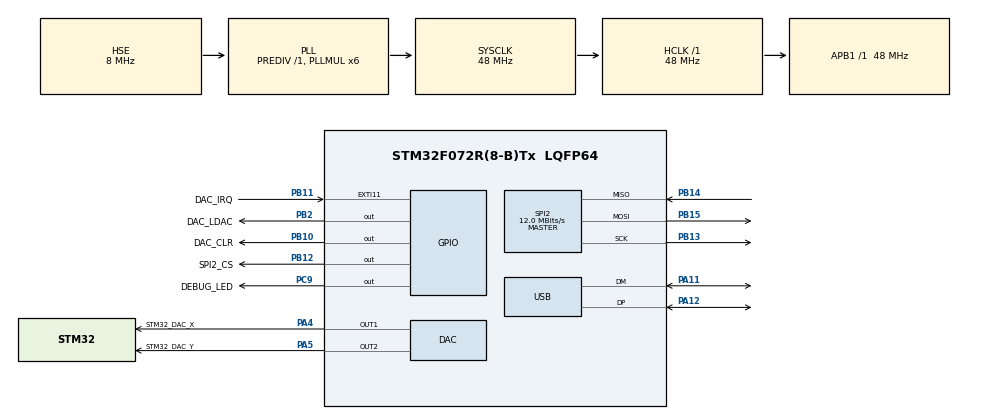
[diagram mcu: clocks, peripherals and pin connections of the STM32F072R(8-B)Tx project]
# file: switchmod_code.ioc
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IWDG.Prescaler=IWDG_PRESCALER_16
Mcu.Family=STM32F0
Mcu.Name=STM32F072R(8-B)Tx
Mcu.Package=LQFP64
NVIC.USB_IRQn=true\:0\:0\:false\:false\:true
PA11.Mode=Device
PA11.Signal=USB_DM
PA12.Mode=Device
PA12.Signal=USB_DP
PA13.Mode=Serial_Wire
PA13.Signal=SYS_SWDIO
PA14.Mode=Serial_Wire
PA14.Signal=SYS_SWCLK
PA4.GPIO_Label=STM32_DAC_X
PA4.Signal=COMP_DAC1_group
PA5.GPIO_Label=STM32_DAC_Y
PA5.Signal=COMP_DAC2_group
PB10.GPIO_Label=DAC_CLR
PB10.GPIO_ModeDefaultOutputPP=GPIO_MODE_OUTPUT_OD
PB10.PinState=GPIO_PIN_SET
PB10.Signal=GPIO_Output
PB11.GPIO_Label=DAC_IRQ
PB11.GPIO_PuPd=GPIO_NOPULL
PB11.Signal=GPXTI11
PB12.GPIO_Label=SPI2_CS
PB12.GPIO_ModeDefaultOutputPP=GPIO_MODE_OUTPUT_OD
PB12.PinState=GPIO_PIN_SET
PB12.Signal=GPIO_Output
PB13.Mode=Full_Duplex_Master
PB13.Signal=SPI2_SCK
PB14.Mode=Full_Duplex_Master
PB14.Signal=SPI2_MISO
PB15.Mode=Full_Duplex_Master
PB15.Signal=SPI2_MOSI
PB2.GPIO_Label=DAC_LDAC
PB2.GPIO_ModeDefaultOutputPP=GPIO_MODE_OUTPUT_OD
PB2.PinState=GPIO_PIN_SET
PB2.Signal=GPIO_Output
PB5.Mode=SYS_WakeUp5
PB5.Signal=SYS_WKUP6
PC9.GPIO_Label=DEBUG_LED
PC9.PinState=GPIO_PIN_SET
PC9.Signal=GPIO_Output
PF0-OSC_IN.Mode=HSE-External-Oscillator
PF0-OSC_IN.Signal=RCC_OSC_IN
PF1-OSC_OUT.Mode=HSE-External-Oscillator
PF1-OSC_OUT.Signal=RCC_OSC_OUT
ProjectManager.HeapSize=0x200
ProjectManager.StackSize=0x400
ProjectManager.TargetToolchain=MDK-ARM V5
RCC.AHBFreq_Value=48000000
RCC.APB1Freq_Value=48000000
RCC.APB1TimFreq_Value=48000000
RCC.DATA_CACHE_ENABLE=1
RCC.HCLKFreq_Value=48000000
RCC.HSIState=RCC_HSI_ON
RCC.INSTRUCTION_CACHE_ENABLE=1
RCC.PLLMUL=RCC_PLL_MUL6
RCC.SYSCLKFreq_VALUE=48000000
RCC.SYSCLKSource=RCC_SYSCLKSOURCE_PLLCLK
RCC.USBClockSelection=RCC_USBCLKSOURCE_PLL
SH.COMP_DAC1_group.0=DAC_OUT1,DAC_OUT1
SH.COMP_DAC2_group.0=DAC_OUT2,DAC_OUT2
SPI2.BaudRatePrescaler=SPI_BAUDRATEPRESCALER_4
SPI2.CLKPhase=SPI_PHASE_1EDGE
SPI2.CLKPolarity=SPI_POLARITY_LOW
SPI2.CalculateBaudRate=12.0 MBits/s
SPI2.DataSize=SPI_DATASIZE_8BIT
SPI2.Mode=SPI_MODE_MASTER
SPI2.NSSPMode=SPI_NSS_PULSE_DISABLE
USB_DEVICE.CLASS_NAME_FS=CDC
USB_DEVICE.USBD_HandleTypeDef=hUsbDeviceFS
USB_DEVICE.VirtualMode=Cdc
USB_DEVICE.VirtualModeFS=Cdc_FS
VP_IWDG_VS_IWDG.Mode=IWDG_Activate
VP_USB_DEVICE_VS_USB_DEVICE_CDC_FS.Mode=CDC_FS
board=switchmod_code

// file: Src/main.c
/**
  ******************************************************************************
  * File Name          : main.c
  * Description        : Main program body
  ******************************************************************************
  *
  * Copyright (c) 2017 STMicroelectronics International N.V.
  * All rights reserved.
  *
  * Redistribution and use in source and binary forms, with or without
  * modification, are permitted, provided that the following conditions are met:
  *
  * 1. Redistribution of source code must retain the above copyright notice,
  *    this list of conditions and the following disclaimer.
  * 2. Redistributions in binary form must reproduce the above copyright notice,
  *    this list of conditions and the following disclaimer in the documentation
  *    and/or other materials provided with the distribution.
  * 3. Neither the name of STMicroelectronics nor the names of other
  *    contributors to this software may be used to endorse or promote products
  *    derived from this software without specific written permission.
  * 4. This software, including modifications and/or derivative works of this
  *    software, must execute solely and exclusively on microcontroller or
  *    microprocessor devices manufactured by or for STMicroelectronics.
  * 5. Redistribution and use of this software other than as permitted under
  *    this license is void and will automatically terminate your rights under
  *    this license.
  *
  * THIS SOFTWARE IS PROVIDED BY STMICROELECTRONICS AND CONTRIBUTORS "AS IS"
  * AND ANY EXPRESS, IMPLIED OR STATUTORY WARRANTIES, INCLUDING, BUT NOT
  * LIMITED TO, THE IMPLIED WARRANTIES OF MERCHANTABILITY, FITNESS FOR A
  * PARTICULAR PURPOSE AND NON-INFRINGEMENT OF THIRD PARTY INTELLECTUAL PROPERTY
  * RIGHTS ARE DISCLAIMED TO THE FULLEST EXTENT PERMITTED BY LAW. IN NO EVENT
  * SHALL STMICROELECTRONICS OR CONTRIBUTORS BE LIABLE FOR ANY DIRECT, INDIRECT,
  * INCIDENTAL, SPECIAL, EXEMPLARY, OR CONSEQUENTIAL DAMAGES (INCLUDING, BUT NOT
  * LIMITED TO, PROCUREMENT OF SUBSTITUTE GOODS OR SERVICES; LOSS OF USE, DATA,
  * OR PROFITS; OR BUSINESS INTERRUPTION) HOWEVER CAUSED AND ON ANY THEORY OF
  * LIABILITY, WHETHER IN CONTRACT, STRICT LIABILITY, OR TORT (INCLUDING
  * NEGLIGENCE OR OTHERWISE) ARISING IN ANY WAY OUT OF THE USE OF THIS SOFTWARE,
  * EVEN IF ADVISED OF THE POSSIBILITY OF SUCH DAMAGE.
  *
  ******************************************************************************
  */
#include "main.h"
#include "stm32f0xx_hal.h"
#include "usb_device.h"

/* USER CODE BEGIN Includes */
#include <stdio.h>
#include <string.h>
#include <stdlib.h>
#include "helpers.h"
#include "shared.h"
#include "max572x.h"
#include "my_usb.h"
#include "cmd_parser.h"
/* USER CODE END Includes */

DAC_HandleTypeDef hdac;

IWDG_HandleTypeDef hiwdg;

SPI_HandleTypeDef hspi2;

/* USER CODE BEGIN PV */
/* Private variables ---------------------------------------------------------*/
int32_t next_iwdg_kick;
/* USER CODE END PV */

void SystemClock_Config(void);
void Error_Handler(void);
static void MX_GPIO_Init(void);
static void MX_SPI2_Init(void);
static void MX_IWDG_Init(void);

/* USER CODE BEGIN PFP */
/* Private function prototypes -----------------------------------------------*/
static void MX_DAC_Init(void);

/* USER CODE END PFP */

/* USER CODE BEGIN 0 */

void stm32_dac_init(void)
{
	MX_DAC_Init();
  HAL_DAC_Start(stm32_dac_ptr, DAC_CHANNEL_1);
  HAL_DAC_Start(stm32_dac_ptr, DAC_CHANNEL_2);
  // printf("STM32 built-in DAC initialized\n");
}

int fputc(int ch, FILE *f)
{
  my_usb_putchar((uint8_t)ch);
  return ch;
}

void blink(void)
{
  // idwg_kick();
  for (int i = 0; i < 8; ++i)
  {
    HAL_GPIO_TogglePin(DEBUG_LED_GPIO_Port, DEBUG_LED_Pin);
    HAL_Delay(100);
  }
  // idwg_kick();
}

/* USER CODE END 0 */

int main(void)
{

  /* USER CODE BEGIN 1 */

  my_usb_init();
  next_iwdg_kick = HAL_GetTick() + 500;
  /* USER CODE END 1 */

  /* MCU Configuration----------------------------------------------------------*/

  /* Reset of all peripherals, Initializes the Flash interface and the Systick. */
  HAL_Init();

  /* Configure the system clock */
  SystemClock_Config();

  /* Initialize all configured peripherals */
  MX_GPIO_Init();
  MX_SPI2_Init();
  MX_USB_DEVICE_Init();
  MX_IWDG_Init();

  /* USER CODE BEGIN 2 */
  blink();
  spi_cs_high();
  printf("------------------started------------------\n");
  /* USER CODE END 2 */

  /* Infinite loop */
  while (1)
  {

  /* USER CODE BEGIN 3 */
    idwg_kick();
    usb_data = my_usb_readline();
    if(usb_data != NULL)
      parse_cmd(usb_data);
  }
  /* USER CODE END 3 */

}

/** System Clock Configuration
*/
void SystemClock_Config(void)
{

  RCC_OscInitTypeDef RCC_OscInitStruct;
  RCC_ClkInitTypeDef RCC_ClkInitStruct;
  RCC_PeriphCLKInitTypeDef PeriphClkInit;

    /**Initializes the CPU, AHB and APB busses clocks
    */
  RCC_OscInitStruct.OscillatorType = RCC_OSCILLATORTYPE_LSI|RCC_OSCILLATORTYPE_HSE;
  RCC_OscInitStruct.HSEState = RCC_HSE_ON;
  RCC_OscInitStruct.HSIState = RCC_HSI_ON;
  RCC_OscInitStruct.LSIState = RCC_LSI_ON;
  RCC_OscInitStruct.PLL.PLLState = RCC_PLL_ON;
  RCC_OscInitStruct.PLL.PLLSource = RCC_PLLSOURCE_HSE;
  RCC_OscInitStruct.PLL.PLLMUL = RCC_PLL_MUL6;
  RCC_OscInitStruct.PLL.PREDIV = RCC_PREDIV_DIV1;
  if (HAL_RCC_OscConfig(&RCC_OscInitStruct) != HAL_OK)
  {
    Error_Handler();
  }

    /**Initializes the CPU, AHB and APB busses clocks
    */
  RCC_ClkInitStruct.ClockType = RCC_CLOCKTYPE_HCLK|RCC_CLOCKTYPE_SYSCLK
                              |RCC_CLOCKTYPE_PCLK1;
  RCC_ClkInitStruct.SYSCLKSource = RCC_SYSCLKSOURCE_PLLCLK;
  RCC_ClkInitStruct.AHBCLKDivider = RCC_SYSCLK_DIV1;
  RCC_ClkInitStruct.APB1CLKDivider = RCC_HCLK_DIV1;

  if (HAL_RCC_ClockConfig(&RCC_ClkInitStruct, FLASH_LATENCY_1) != HAL_OK)
  {
    Error_Handler();
  }

  PeriphClkInit.PeriphClockSelection = RCC_PERIPHCLK_USB;
  PeriphClkInit.UsbClockSelection = RCC_USBCLKSOURCE_PLL;

  if (HAL_RCCEx_PeriphCLKConfig(&PeriphClkInit) != HAL_OK)
  {
    Error_Handler();
  }

    /**Configure the Systick interrupt time
    */
  HAL_SYSTICK_Config(HAL_RCC_GetHCLKFreq()/1000);

    /**Configure the Systick
    */
  HAL_SYSTICK_CLKSourceConfig(SYSTICK_CLKSOURCE_HCLK);

  /* SysTick_IRQn interrupt configuration */
  HAL_NVIC_SetPriority(SysTick_IRQn, 0, 0);
}

/* DAC init function */
static void MX_DAC_Init(void)
{

  DAC_ChannelConfTypeDef sConfig;

    /**DAC Initialization
    */
  hdac.Instance = DAC;
  if (HAL_DAC_Init(&hdac) != HAL_OK)
  {
    Error_Handler();
  }

    /**DAC channel OUT1 config
    */
  sConfig.DAC_Trigger = DAC_TRIGGER_NONE;
  sConfig.DAC_OutputBuffer = DAC_OUTPUTBUFFER_ENABLE;
  if (HAL_DAC_ConfigChannel(&hdac, &sConfig, DAC_CHANNEL_1) != HAL_OK)
  {
    Error_Handler();
  }

    /**DAC channel OUT2 config
    */
  if (HAL_DAC_ConfigChannel(&hdac, &sConfig, DAC_CHANNEL_2) != HAL_OK)
  {
    Error_Handler();
  }

}

/* IWDG init function */
static void MX_IWDG_Init(void)
{

  hiwdg.Instance = IWDG;
  hiwdg.Init.Prescaler = IWDG_PRESCALER_16;
  hiwdg.Init.Window = 4095;
  hiwdg.Init.Reload = 4095;
  if (HAL_IWDG_Init(&hiwdg) != HAL_OK)
  {
    Error_Handler();
  }

}

/* SPI2 init function */
static void MX_SPI2_Init(void)
{

  hspi2.Instance = SPI2;
  hspi2.Init.Mode = SPI_MODE_MASTER;
  hspi2.Init.Direction = SPI_DIRECTION_2LINES;
  hspi2.Init.DataSize = SPI_DATASIZE_8BIT;
  hspi2.Init.CLKPolarity = SPI_POLARITY_LOW;
  hspi2.Init.CLKPhase = SPI_PHASE_1EDGE;
  hspi2.Init.NSS = SPI_NSS_SOFT;
  hspi2.Init.BaudRatePrescaler = SPI_BAUDRATEPRESCALER_4;
  hspi2.Init.FirstBit = SPI_FIRSTBIT_MSB;
  hspi2.Init.TIMode = SPI_TIMODE_DISABLE;
  hspi2.Init.CRCCalculation = SPI_CRCCALCULATION_DISABLE;
  hspi2.Init.CRCPolynomial = 7;
  hspi2.Init.CRCLength = SPI_CRC_LENGTH_DATASIZE;
  hspi2.Init.NSSPMode = SPI_NSS_PULSE_DISABLE;
  if (HAL_SPI_Init(&hspi2) != HAL_OK)
  {
    Error_Handler();
  }

}

/** Configure pins as
        * Analog
        * Input
        * Output
        * EVENT_OUT
        * EXTI
*/
static void MX_GPIO_Init(void)
{

  GPIO_InitTypeDef GPIO_InitStruct;

  /* GPIO Ports Clock Enable */
  __HAL_RCC_GPIOF_CLK_ENABLE();
  __HAL_RCC_GPIOA_CLK_ENABLE();
  __HAL_RCC_GPIOB_CLK_ENABLE();
  __HAL_RCC_GPIOC_CLK_ENABLE();

  /*Configure GPIO pin Output Level */
  HAL_GPIO_WritePin(GPIOB, DAC_LDAC_Pin|DAC_CLR_Pin|SPI2_CS_Pin, GPIO_PIN_SET);

  /*Configure GPIO pin Output Level */
  HAL_GPIO_WritePin(DEBUG_LED_GPIO_Port, DEBUG_LED_Pin, GPIO_PIN_SET);

  /*Configure GPIO pins : DAC_LDAC_Pin DAC_CLR_Pin SPI2_CS_Pin */
  GPIO_InitStruct.Pin = DAC_LDAC_Pin|DAC_CLR_Pin|SPI2_CS_Pin;
  GPIO_InitStruct.Mode = GPIO_MODE_OUTPUT_OD;
  GPIO_InitStruct.Pull = GPIO_NOPULL;
  GPIO_InitStruct.Speed = GPIO_SPEED_FREQ_LOW;
  HAL_GPIO_Init(GPIOB, &GPIO_InitStruct);

  /*Configure GPIO pin : DAC_IRQ_Pin */
  GPIO_InitStruct.Pin = DAC_IRQ_Pin;
  GPIO_InitStruct.Mode = GPIO_MODE_IT_RISING;
  GPIO_InitStruct.Pull = GPIO_NOPULL;
  HAL_GPIO_Init(DAC_IRQ_GPIO_Port, &GPIO_InitStruct);

  /*Configure GPIO pin : DEBUG_LED_Pin */
  GPIO_InitStruct.Pin = DEBUG_LED_Pin;
  GPIO_InitStruct.Mode = GPIO_MODE_OUTPUT_PP;
  GPIO_InitStruct.Pull = GPIO_NOPULL;
  GPIO_InitStruct.Speed = GPIO_SPEED_FREQ_LOW;
  HAL_GPIO_Init(DEBUG_LED_GPIO_Port, &GPIO_InitStruct);

}

void Error_Handler(void)
{
  while(1)
  {
  }
}

/************************ (C) COPYRIGHT STMicroelectronics *****END OF FILE****/
